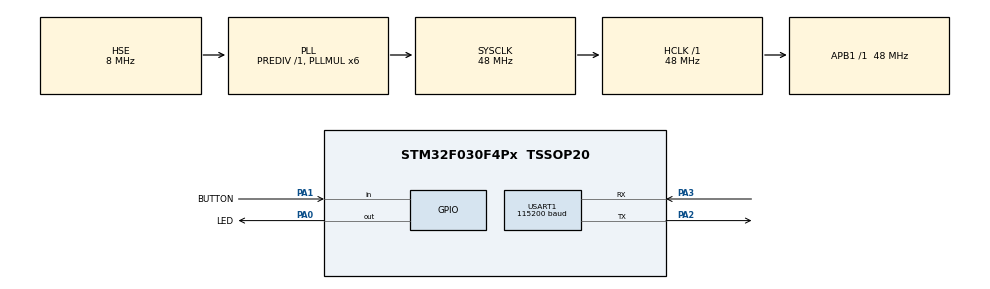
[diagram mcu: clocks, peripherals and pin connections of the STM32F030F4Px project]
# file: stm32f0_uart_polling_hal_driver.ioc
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Mcu.Family=STM32F0
Mcu.Name=STM32F030F4Px
Mcu.Package=TSSOP20
PA0.GPIO_Label=LED
PA0.Signal=GPIO_Output
PA1.GPIO_Label=BUTTON
PA1.GPIO_PuPd=GPIO_PULLUP
PA1.Signal=GPIO_Input
PA13.Mode=Serial_Wire
PA13.Signal=SYS_SWDIO
PA14.Mode=Serial_Wire
PA14.Signal=SYS_SWCLK
PA2.Mode=Asynchronous
PA2.Signal=USART1_TX
PA3.Mode=Asynchronous
PA3.Signal=USART1_RX
PF0-OSC_IN.Mode=HSE-External-Oscillator
PF0-OSC_IN.Signal=RCC_OSC_IN
PF1-OSC_OUT.Mode=HSE-External-Oscillator
PF1-OSC_OUT.Signal=RCC_OSC_OUT
ProjectManager.HeapSize=0x200
ProjectManager.StackSize=0x400
ProjectManager.TargetToolchain=STM32CubeIDE
RCC.AHBFreq_Value=48000000
RCC.APB1Freq_Value=48000000
RCC.APB1TimFreq_Value=48000000
RCC.EnbaleCSS=true
RCC.HCLKFreq_Value=48000000
RCC.PLLMUL=RCC_PLL_MUL6
RCC.PLLSourceVirtual=RCC_PLLSOURCE_HSE
RCC.SYSCLKFreq_VALUE=48000000
RCC.SYSCLKSource=RCC_SYSCLKSOURCE_PLLCLK
USART1.BaudRate=115200
USART1.VirtualMode-Asynchronous=VM_ASYNC
board=custom

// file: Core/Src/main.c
/* USER CODE BEGIN Header */
/**
  ******************************************************************************
  * @file           : main.c
  * @brief          : Main program body
  ******************************************************************************
  * @attention
  *
  * Copyright (c) 2025 STMicroelectronics.
  * All rights reserved.
  *
  * This software is licensed under terms that can be found in the LICENSE file
  * in the root directory of this software component.
  * If no LICENSE file comes with this software, it is provided AS-IS.
  *
  ******************************************************************************
  */
/* USER CODE END Header */
#include "main.h"

/* USER CODE BEGIN Includes */
#include "stdio.h"
/* USER CODE END Includes */

UART_HandleTypeDef huart1;

void SystemClock_Config(void);
static void MX_GPIO_Init(void);
static void MX_USART1_UART_Init(void);

/* USER CODE BEGIN 0 */
uint8_t msg[] = "Hello World From STM32F0!\n";		/* welcome message */

uint8_t rData = 0;									/* rx buffer */
uint8_t tData[20] = {0};							/* tx buffer */

uint8_t pressed_counter = 0;						/* push button pressed counter */

/* USER CODE END 0 */

int main(void)
{

  /* MCU Configuration--------------------------------------------------------*/

  /* Reset of all peripherals, Initializes the Flash interface and the Systick. */
  HAL_Init();

  /* Configure the system clock */
  SystemClock_Config();

  /* Initialize all configured peripherals */
  MX_GPIO_Init();
  MX_USART1_UART_Init();
  /* USER CODE BEGIN 2 */

  /* send welcome message */

  /* send msg data */
  /* size of data : sizeof(msg) - 1 (avoid sending null char) */
  /* maximum polling time : 100ms */
  HAL_UART_Transmit(&huart1, msg, sizeof(msg) - 1, 100);

  /* USER CODE END 2 */

  /* Infinite loop */
  /* USER CODE BEGIN WHILE */
  while (1)
  {
	/* receive and store in rData */
	/* size of data : 1 byte */
	/* maximum polling time : 100ms */
	HAL_UART_Receive(&huart1, &rData, 1, 100);

	/* check received data */
	if(rData == '0')
	{
		/* turn off LED */
		HAL_GPIO_WritePin(LED_GPIO_Port, LED_Pin, GPIO_PIN_RESET);

		/* make tx buffer */
		sprintf(tData, "LED turned off.\n");

		/* send data */
		HAL_UART_Transmit(&huart1, tData, 16, 100);

		/* reset data */
		rData = 0;
	}
	else if(rData == '1')
	{
		/* turn off LED */
		HAL_GPIO_WritePin(LED_GPIO_Port, LED_Pin, GPIO_PIN_SET);

		/* make tx buffer */
		sprintf(tData, "LED turned on.\n");

		/* send data */
		HAL_UART_Transmit(&huart1, tData, 15, 100);

		/* reset data */
		rData = 0;
	}

	/* check button pressed */
	if(HAL_GPIO_ReadPin(BUTTON_GPIO_Port, BUTTON_Pin) == GPIO_PIN_RESET)
	{
		/* increase counter */
		pressed_counter++;

		/* make tx buffer */
		sprintf(tData, "pressed : %3d\n", pressed_counter);

		/* send data */
		HAL_UART_Transmit(&huart1, tData, 14, 100);

		/* for button bounce */
		HAL_Delay(200);
	}

    /* USER CODE END WHILE */

  }
}

void SystemClock_Config(void)
{
  RCC_OscInitTypeDef RCC_OscInitStruct = {0};
  RCC_ClkInitTypeDef RCC_ClkInitStruct = {0};
  RCC_PeriphCLKInitTypeDef PeriphClkInit = {0};

  /** Initializes the RCC Oscillators according to the specified parameters
  * in the RCC_OscInitTypeDef structure.
  */
  RCC_OscInitStruct.OscillatorType = RCC_OSCILLATORTYPE_HSE;
  RCC_OscInitStruct.HSEState = RCC_HSE_ON;
  RCC_OscInitStruct.PLL.PLLState = RCC_PLL_ON;
  RCC_OscInitStruct.PLL.PLLSource = RCC_PLLSOURCE_HSE;
  RCC_OscInitStruct.PLL.PLLMUL = RCC_PLL_MUL6;
  RCC_OscInitStruct.PLL.PREDIV = RCC_PREDIV_DIV1;
  if (HAL_RCC_OscConfig(&RCC_OscInitStruct) != HAL_OK)
  {
    Error_Handler();
  }

  /** Initializes the CPU, AHB and APB buses clocks
  */
  RCC_ClkInitStruct.ClockType = RCC_CLOCKTYPE_HCLK|RCC_CLOCKTYPE_SYSCLK
                              |RCC_CLOCKTYPE_PCLK1;
  RCC_ClkInitStruct.SYSCLKSource = RCC_SYSCLKSOURCE_PLLCLK;
  RCC_ClkInitStruct.AHBCLKDivider = RCC_SYSCLK_DIV1;
  RCC_ClkInitStruct.APB1CLKDivider = RCC_HCLK_DIV1;

  if (HAL_RCC_ClockConfig(&RCC_ClkInitStruct, FLASH_LATENCY_1) != HAL_OK)
  {
    Error_Handler();
  }
  PeriphClkInit.PeriphClockSelection = RCC_PERIPHCLK_USART1;
  PeriphClkInit.Usart1ClockSelection = RCC_USART1CLKSOURCE_PCLK1;
  if (HAL_RCCEx_PeriphCLKConfig(&PeriphClkInit) != HAL_OK)
  {
    Error_Handler();
  }

  /** Enables the Clock Security System
  */
  HAL_RCC_EnableCSS();
}

static void MX_USART1_UART_Init(void)
{

  huart1.Instance = USART1;
  huart1.Init.BaudRate = 115200;
  huart1.Init.WordLength = UART_WORDLENGTH_8B;
  huart1.Init.StopBits = UART_STOPBITS_1;
  huart1.Init.Parity = UART_PARITY_NONE;
  huart1.Init.Mode = UART_MODE_TX_RX;
  huart1.Init.HwFlowCtl = UART_HWCONTROL_NONE;
  huart1.Init.OverSampling = UART_OVERSAMPLING_16;
  huart1.Init.OneBitSampling = UART_ONE_BIT_SAMPLE_DISABLE;
  huart1.AdvancedInit.AdvFeatureInit = UART_ADVFEATURE_NO_INIT;
  if (HAL_UART_Init(&huart1) != HAL_OK)
  {
    Error_Handler();
  }

}

static void MX_GPIO_Init(void)
{
  GPIO_InitTypeDef GPIO_InitStruct = {0};

  /* GPIO Ports Clock Enable */
  __HAL_RCC_GPIOF_CLK_ENABLE();
  __HAL_RCC_GPIOA_CLK_ENABLE();

  /*Configure GPIO pin Output Level */
  HAL_GPIO_WritePin(LED_GPIO_Port, LED_Pin, GPIO_PIN_RESET);

  /*Configure GPIO pin : LED_Pin */
  GPIO_InitStruct.Pin = LED_Pin;
  GPIO_InitStruct.Mode = GPIO_MODE_OUTPUT_PP;
  GPIO_InitStruct.Pull = GPIO_NOPULL;
  GPIO_InitStruct.Speed = GPIO_SPEED_FREQ_LOW;
  HAL_GPIO_Init(LED_GPIO_Port, &GPIO_InitStruct);

  /*Configure GPIO pin : BUTTON_Pin */
  GPIO_InitStruct.Pin = BUTTON_Pin;
  GPIO_InitStruct.Mode = GPIO_MODE_INPUT;
  GPIO_InitStruct.Pull = GPIO_PULLUP;
  HAL_GPIO_Init(BUTTON_GPIO_Port, &GPIO_InitStruct);

}

void Error_Handler(void)
{
  __disable_irq();
  while (1)
  {
  }
}
